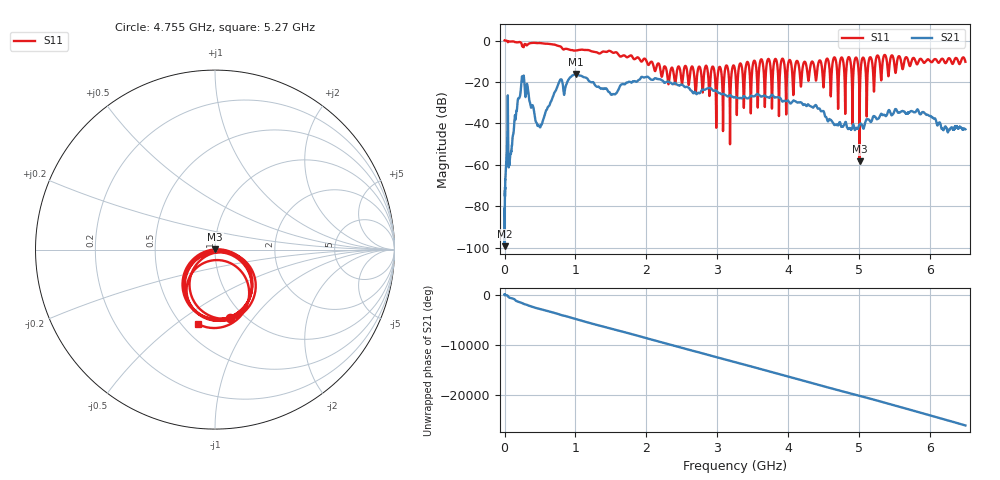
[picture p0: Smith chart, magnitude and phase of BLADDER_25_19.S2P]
!Keysight Technologies,E5063A,MY54503115,A.05.08
!Date: Sun Feb 04 18:48:29 2024
!Data & Calibration Information:
!Freq	S11:NONE(--)	S21:NONE(--)	S12:NONE(--)	S22:NONE(--)
# Hz S dB R 50
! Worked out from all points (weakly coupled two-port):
!   10001 points, 100 kHz to 6.5 GHz, reference 50 ohm
!   highest |S21| = -16.13 dB at 1.008 GHz (marker M1); lowest = -99.2 dB at 1.4 MHz (marker M2)
!   lowest |S11| = -58.3 dB at 5.008 GHz (marker M3), VSWR 1.00, Z = 50.1 + j0.101 ohm
!   |S11| at or under -10 dB: 2.003 GHz to 3.514 GHz (1.511 GHz wide, 54.8 % of centre); 4.035 GHz to 4.117 GHz (82.15 MHz wide, 2.02 % of centre); 4.132 GHz to 4.434 GHz (302 MHz wide, 7.05 % of centre) (the widest 3 of 30)
!   S12 and S22 are empty: the file has one direction only
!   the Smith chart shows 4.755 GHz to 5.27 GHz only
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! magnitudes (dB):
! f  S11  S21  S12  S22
! 100 kHz  0.0  -84.4  -  -
! 1.4 MHz  0.0  -99.2  -  -
! 38.45 MHz  -0.2  -46.4  -  -
! 87.2 MHz  -0.5  -54.7  -  -
! 251 MHz  -2.8  -18.6  -  -
! 492.1 MHz  -1.2  -41.6  -  -
! 774.9 MHz  -2.7  -19.6  -  -
! 1.008 GHz  -4.8  -16.1  -  -
! 1.084 GHz  -4.4  -17.1  -  -
! 1.527 GHz  -5.9  -25.8  -  -
! 2.167 GHz  -11.0  -18.5  -  -
! 3.25 GHz  -14.2  -27.3  -  -
! 4.334 GHz  -10.2  -31.9  -  -
! 4.805 GHz  -34.7  -39.4  -  -
! 4.857 GHz  -8.0  -42.3  -  -
! 4.908 GHz  -40.4  -41.6  -  -
! 4.958 GHz  -8.2  -42.1  -  -
! 5.008 GHz  -58.3  -40.5  -  -
! 5.057 GHz  -8.2  -42.3  -  -
! 5.105 GHz  -26.6  -38.0  -  -
! 5.417 GHz  -16.7  -33.6  -  -
! 6.5 GHz  -10.2  -42.8  -  -
